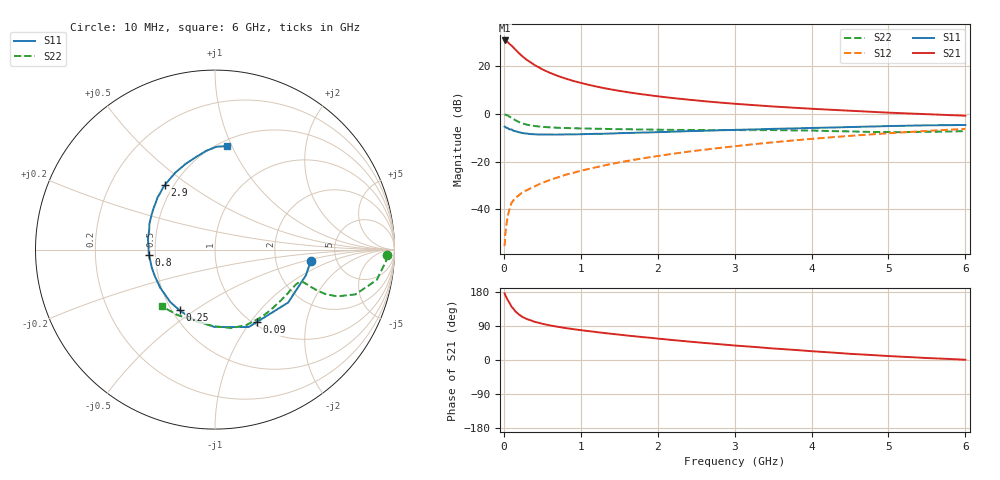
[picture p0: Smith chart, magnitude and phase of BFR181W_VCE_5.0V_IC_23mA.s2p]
! Infineon Technologies  Discrete & RF Semiconductors
! BFR181W
! VCE =  5.0 V,  IC =  23 mA
! Common Emitter S-Parameters:  Jan 2017
# GHz  S  MA  R  50
!  f  S11  S21  S12  S22
! GHz  MAG  ANG  MAG  ANG  MAG  ANG  MAG  ANG
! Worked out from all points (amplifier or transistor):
!   77 points, 10 MHz to 6 GHz, reference 50 ohm
!   highest |S21| = 30.6 dB at 10 MHz (marker M1)
!   |S21| within 3 dB of that: start of sweep to 125.5 MHz
!   unconditionally stable (mu >= 1): 516.3 MHz to 2.424 GHz
!   at 130 MHz: K = 0.47, MSG = 31.7 dB, |S12| = -36.0 dB
!   at 2.2 GHz: K = 1.03, MAG = 10.5 dB, |S12| = -16.7 dB
!   at 6 GHz: K = 0.84, MSG = 2.8 dB, |S12| = -6.3 dB
!   S11 on the Smith chart (normalised r, x): 10 MHz: 3.23, -0.56; 90 MHz: 1.04, -1.07; 250 MHz: 0.55, -0.44; 800 MHz: 0.46, -0.03; 2.9 GHz: 0.45, +0.41; 6 GHz: 0.55, +0.96
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0.01  0.5387 -6.5  34.04 175.8  0.0017 92.4  0.9611 -1.8
0.02  0.526 -15.9  33.36 170.7  0.0031 98.0  0.9544 -4.0
0.05  0.5032 -35.9  31.48 158.3  0.007 76.1  0.9174 -10.6
0.09  0.4661 -60.1  27.35 144.6  0.0123 68.7  0.8387 -16.2
0.1  0.4707 -66.4  26.61 140.6  0.0136 67.8  0.8204 -17.7
0.15  0.4315 -90.2  21.95 128.4  0.0174 64.2  0.731 -20.9
0.2  0.4086 -106.9  18.2 119.4  0.02 63.9  0.6665 -21.9
0.25  0.3916 -120.2  15.44 112.9  0.0232 61.5  0.6224 -21.9
0.3  0.3841 -130.4  13.3 107.9  0.0252 62.5  0.59 -21.5
0.4  0.3719 -145.0  10.4 100.7  0.0302 65.9  0.5523 -20.8
0.5  0.3665 -155.6  8.471 95.6  0.0358 67.7  0.5318 -20.4
0.6  0.3663 -163.6  7.152 91.3  0.0413 69.4  0.5184 -20.3
0.7  0.3659 -170.0  6.178 87.7  0.0465 72.1  0.509 -20.5
0.8  0.3698 -175.5  5.452 84.4  0.0528 72.5  0.5028 -21.1
1.1  0.3769 171.8  4.031 76.3  0.0699 75.3  0.4891 -23.8
1.5  0.3919 159.1  3.01 66.9  0.0958 75.8  0.4754 -29.0
2.1  0.4161 144.0  2.217 54.6  0.1379 74.9  0.4613 -39.6
2.9  0.4547 128.0  1.665 40.0  0.2006 71.1  0.4553 -55.8
3.1  0.4629 124.3  1.574 36.8  0.2176 69.7  0.454 -59.9
4.1  0.5079 107.5  1.246 21.9  0.3069 61.4  0.4406 -80.7
5.1  0.5555 94.1  1.037 9.4  0.3996 51.1  0.4126 -108.0
6  0.5811 83.4  0.908 0.7  0.4819 41.0  0.4334 -133.4
